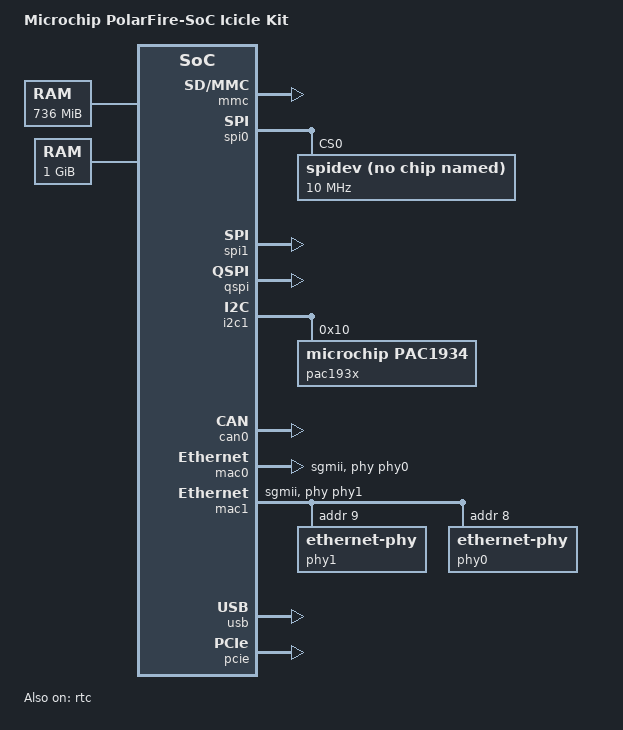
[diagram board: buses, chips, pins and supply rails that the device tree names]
// SPDX-License-Identifier: (GPL-2.0 OR MIT)
/* Copyright (c) 2020-2021 Microchip Technology Inc */

/dts-v1/;

#include "microchip-mpfs.dtsi"

/* Clock frequency (in Hz) of the rtcclk */
#define RTCCLK_FREQ		1000000

/ {
	model = "Microchip PolarFire-SoC Icicle Kit";
	compatible = "microchip,mpfs-icicle-kit", "microchip,mpfs";

	aliases {
		mmuart0 = &mmuart0;
		mmuart1 = &mmuart1;
		mmuart2 = &mmuart2;
		mmuart3 = &mmuart3;
		mmuart4 = &mmuart4;
	};

	chosen {
		stdout-path = "mmuart1:115200n8";
	};

	cpus {
		timebase-frequency = <RTCCLK_FREQ>;
	};

	reserved-memory {
		ranges;
		#size-cells = <2>;
		#address-cells = <2>;

		fabricbuf0: fabricbuf@0 {
			compatible = "shared-dma-pool";
			reg = <0x0 0xae000000 0x0 0x2000000>;
			label = "fabricbuf0-ddr-c";
		};

		fabricbuf1: fabricbuf@1 {
			compatible = "shared-dma-pool";
			reg = <0x0 0xc0000000 0x0 0x8000000>;
			label = "fabricbuf1-ddr-nc";
		};

		fabricbuf2: fabricbuf@2 {
			compatible = "shared-dma-pool";
			reg = <0x0 0xd8000000 0x0 0x8000000>;
			label = "fabricbuf2-ddr-nc-wcb";
		};
	};

	udmabuf0 {
		compatible = "ikwzm,u-dma-buf";
		device-name = "udmabuf-ddr-c0";
		minor-number = <0>;
		size = <0x0 0x2000000>;
		memory-region = <&fabricbuf0>;
		sync-mode = <3>;
	};

	udmabuf1 {
		compatible = "ikwzm,u-dma-buf";
		device-name = "udmabuf-ddr-nc0";
		minor-number = <1>;
		size = <0x0 0x8000000>;
		memory-region = <&fabricbuf1>;
		sync-mode = <3>;
	};

	udmabuf2 {
		compatible = "ikwzm,u-dma-buf";
		device-name = "udmabuf-ddr-nc-wcb0";
		minor-number = <2>;
		size = <0x0 0x8000000>;
		memory-region = <&fabricbuf2>;
		sync-mode = <3>;
	};

	ddrc_cache_lo: memory@80000000 {
		device_type = "memory";
		reg = <0x0 0x80000000 0x0 0x2e000000>;
		clocks = <&clkcfg CLK_DDRC>;
		status = "okay";
	};

	ddrc_cache_hi: memory@1000000000 {
		device_type = "memory";
		reg = <0x10 0x0 0x0 0x40000000>;
		clocks = <&clkcfg CLK_DDRC>;
		status = "okay";
	};
};

&mmuart1 {
	status = "okay";
};

&mmuart2 {
	status = "okay";
};

&mmuart3 {
	status = "okay";
};

&mmuart4 {
	status = "okay";
};

&mmc {
	status = "okay";
};

&spi0 {
	status = "okay";
	spidev@0 {
		compatible = "linux,spidev";
		reg = <0>; /* CS 0 */
		spi-max-frequency = <10000000>;
		status = "okay";
	};
};

&spi1 {
	status = "okay";
};

&qspi {
	status = "okay";
};

&i2c1 {
	status = "okay";
	pac193x: pac193x@10 {
		compatible = "microchip,pac1934";
		reg = <0x10>;
		samp-rate = <64>;
		status = "okay";
		ch0: channel0 {
			uohms-shunt-res = <10000>;
			rail-name = "VDDREG";
			channel_enabled;
		};
		ch1: channel1 {
			uohms-shunt-res = <10000>;
			rail-name = "VDDA25";
			channel_enabled;
		};
		ch2: channel2 {
			uohms-shunt-res = <10000>;
			rail-name = "VDD25";
			channel_enabled;
		};
		ch3: channel3 {
			uohms-shunt-res = <10000>;
			rail-name = "VDDA_REG";
			channel_enabled;
		};
	};
};

&can0 {
	status = "okay";
};

&mac0 {
	status = "okay";
	phy-mode = "sgmii";
	phy-handle = <&phy0>;
};

&mac1 {
	status = "okay";
	phy-mode = "sgmii";
	phy-handle = <&phy1>;
	phy1: ethernet-phy@9 {
		reg = <9>;
		ti,fifo-depth = <0x1>;
	};
	phy0: ethernet-phy@8 {
		reg = <8>;
		ti,fifo-depth = <0x1>;
	};
};

&gpio2 {
	interrupts = <PLIC_INT_GPIO2_NON_DIRECT
		PLIC_INT_GPIO2_NON_DIRECT
		PLIC_INT_GPIO2_NON_DIRECT
		PLIC_INT_GPIO2_NON_DIRECT
		PLIC_INT_GPIO2_NON_DIRECT
		PLIC_INT_GPIO2_NON_DIRECT
		PLIC_INT_GPIO2_NON_DIRECT
		PLIC_INT_GPIO2_NON_DIRECT
		PLIC_INT_GPIO2_NON_DIRECT
		PLIC_INT_GPIO2_NON_DIRECT
		PLIC_INT_GPIO2_NON_DIRECT
		PLIC_INT_GPIO2_NON_DIRECT
		PLIC_INT_GPIO2_NON_DIRECT
		PLIC_INT_GPIO2_NON_DIRECT
		PLIC_INT_GPIO2_NON_DIRECT
		PLIC_INT_GPIO2_NON_DIRECT
		PLIC_INT_GPIO2_NON_DIRECT
		PLIC_INT_GPIO2_NON_DIRECT
		PLIC_INT_GPIO2_NON_DIRECT
		PLIC_INT_GPIO2_NON_DIRECT
		PLIC_INT_GPIO2_NON_DIRECT
		PLIC_INT_GPIO2_NON_DIRECT
		PLIC_INT_GPIO2_NON_DIRECT
		PLIC_INT_GPIO2_NON_DIRECT
		PLIC_INT_GPIO2_NON_DIRECT
		PLIC_INT_GPIO2_NON_DIRECT
		PLIC_INT_GPIO2_NON_DIRECT
		PLIC_INT_GPIO2_NON_DIRECT
		PLIC_INT_GPIO2_NON_DIRECT
		PLIC_INT_GPIO2_NON_DIRECT
		PLIC_INT_GPIO2_NON_DIRECT
		PLIC_INT_GPIO2_NON_DIRECT>;
	status = "okay";
};

&rtc {
	status = "okay";
};

&usb {
	status = "okay";
};

&mbox {
	status = "okay";
};

&pcie {
	status = "okay";
};

